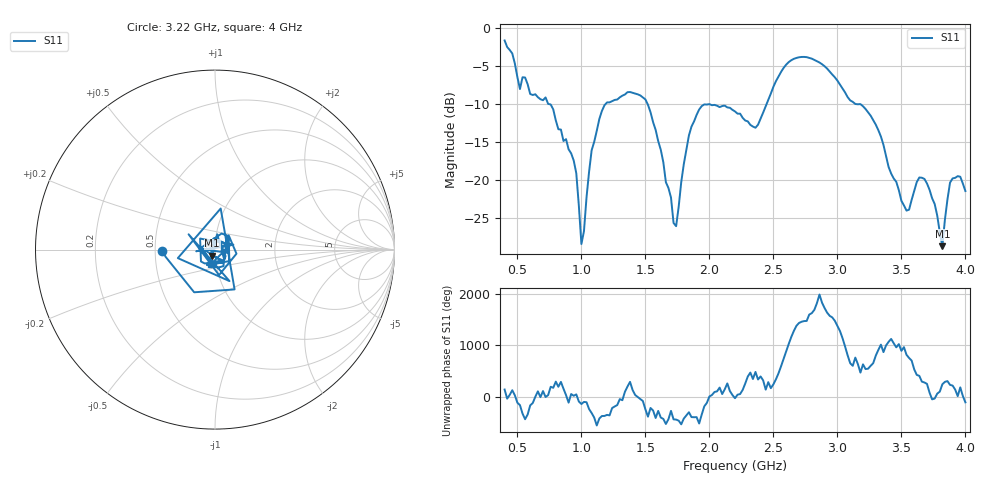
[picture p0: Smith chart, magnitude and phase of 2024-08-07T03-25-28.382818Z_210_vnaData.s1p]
!Created with skrf (http://scikit-rf.org).
# Hz S RI R 50.0
!freq ReS11 ImS11
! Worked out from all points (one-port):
!   181 points, 400 MHz to 4 GHz, reference 50 ohm
!   lowest |S11| = -28.7 dB at 3.82 GHz (marker M1), VSWR 1.08, Z = 48.4 - j3.23 ohm
!   |S11| at or under -10 dB: 741.9 MHz to 1.189 GHz (447.5 MHz wide, 46.3 % of centre); 1.517 GHz to 2.447 GHz (930.3 MHz wide, 46.9 % of centre); 3.14 GHz to end of sweep
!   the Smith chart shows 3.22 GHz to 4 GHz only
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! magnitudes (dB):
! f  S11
! 400 MHz  -1.7
! 520 MHz  -8.0
! 560 MHz  -6.5
! 720 MHz  -9.1
! 860 MHz  -14.9
! 960 MHz  -19.1
! 1 GHz  -28.4
! 1.08 GHz  -16.1
! 1.14 GHz  -12.0
! 1.3 GHz  -9.1
! 1.5 GHz  -9.4
! 1.62 GHz  -16.0
! 1.72 GHz  -25.6
! 1.76 GHz  -23.5
! 1.84 GHz  -14.1
! 1.92 GHz  -10.7
! 2.2 GHz  -11.0
! 2.36 GHz  -13.1
! 2.66 GHz  -4.1
! 2.88 GHz  -4.8
! 3.1 GHz  -9.5
! 3.3 GHz  -12.7
! 3.56 GHz  -23.9
! 3.68 GHz  -19.9
! 3.76 GHz  -23.1
! 3.82 GHz  -28.7
! 3.88 GHz  -20.3
! 4 GHz  -21.4
